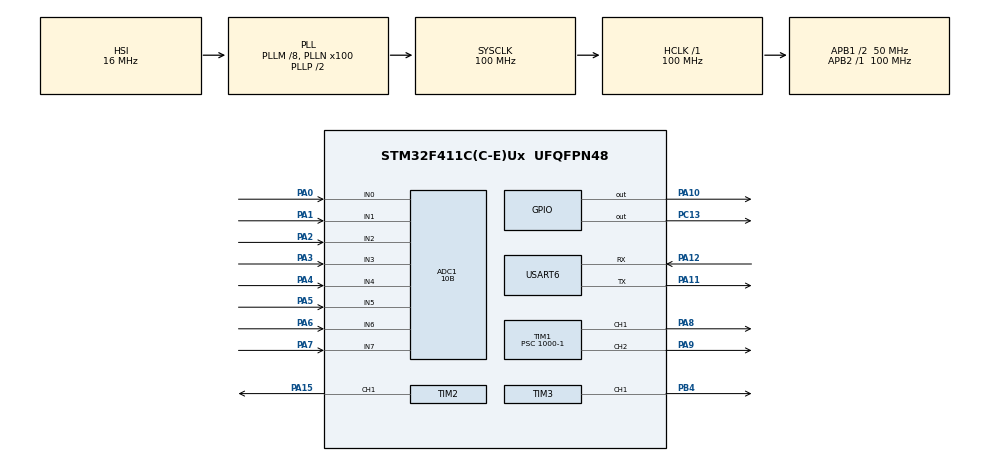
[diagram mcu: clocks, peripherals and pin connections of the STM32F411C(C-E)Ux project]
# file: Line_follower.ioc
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ADC1.Channel-0\#ChannelRegularConversion=ADC_CHANNEL_0
ADC1.Channel-1\#ChannelRegularConversion=ADC_CHANNEL_1
ADC1.Channel-10\#ChannelRegularConversion=ADC_CHANNEL_6
ADC1.Channel-11\#ChannelRegularConversion=ADC_CHANNEL_7
ADC1.Channel-6\#ChannelRegularConversion=ADC_CHANNEL_2
ADC1.Channel-7\#ChannelRegularConversion=ADC_CHANNEL_3
ADC1.Channel-8\#ChannelRegularConversion=ADC_CHANNEL_4
ADC1.Channel-9\#ChannelRegularConversion=ADC_CHANNEL_5
ADC1.ClockPrescaler=ADC_CLOCK_SYNC_PCLK_DIV4
ADC1.ContinuousConvMode=DISABLE
ADC1.DMAContinuousRequests=ENABLE
ADC1.EOCSelection=ADC_EOC_SEQ_CONV
ADC1.InjNumberOfConversion=0
ADC1.NbrOfConversion=8
ADC1.NbrOfConversionFlag=1
ADC1.Rank-0\#ChannelRegularConversion=1
ADC1.Rank-1\#ChannelRegularConversion=2
ADC1.Rank-10\#ChannelRegularConversion=7
ADC1.Rank-11\#ChannelRegularConversion=8
ADC1.Rank-6\#ChannelRegularConversion=3
ADC1.Rank-7\#ChannelRegularConversion=4
ADC1.Rank-8\#ChannelRegularConversion=5
ADC1.Rank-9\#ChannelRegularConversion=6
ADC1.Resolution=ADC_RESOLUTION_10B
ADC1.SamplingTime-0\#ChannelRegularConversion=ADC_SAMPLETIME_84CYCLES
ADC1.SamplingTime-1\#ChannelRegularConversion=ADC_SAMPLETIME_84CYCLES
ADC1.SamplingTime-10\#ChannelRegularConversion=ADC_SAMPLETIME_84CYCLES
ADC1.SamplingTime-11\#ChannelRegularConversion=ADC_SAMPLETIME_84CYCLES
ADC1.SamplingTime-6\#ChannelRegularConversion=ADC_SAMPLETIME_84CYCLES
ADC1.SamplingTime-7\#ChannelRegularConversion=ADC_SAMPLETIME_84CYCLES
ADC1.SamplingTime-8\#ChannelRegularConversion=ADC_SAMPLETIME_84CYCLES
ADC1.SamplingTime-9\#ChannelRegularConversion=ADC_SAMPLETIME_84CYCLES
ADC1.ScanConvMode=ENABLE
ADC1.master=1
Dma.ADC1.0.Direction=DMA_PERIPH_TO_MEMORY
Dma.ADC1.0.FIFOMode=DMA_FIFOMODE_DISABLE
Dma.ADC1.0.Instance=DMA2_Stream0
Dma.ADC1.0.MemDataAlignment=DMA_MDATAALIGN_WORD
Dma.ADC1.0.MemInc=DMA_MINC_ENABLE
Dma.ADC1.0.Mode=DMA_NORMAL
Dma.ADC1.0.PeriphDataAlignment=DMA_PDATAALIGN_WORD
Dma.ADC1.0.PeriphInc=DMA_PINC_DISABLE
Dma.ADC1.0.Priority=DMA_PRIORITY_VERY_HIGH
Dma.Request0=ADC1
Dma.Request1=USART6_RX
Dma.USART6_RX.1.Direction=DMA_PERIPH_TO_MEMORY
Dma.USART6_RX.1.FIFOMode=DMA_FIFOMODE_DISABLE
Dma.USART6_RX.1.Instance=DMA2_Stream1
Dma.USART6_RX.1.MemDataAlignment=DMA_MDATAALIGN_BYTE
Dma.USART6_RX.1.MemInc=DMA_MINC_ENABLE
Dma.USART6_RX.1.Mode=DMA_NORMAL
Dma.USART6_RX.1.PeriphDataAlignment=DMA_PDATAALIGN_BYTE
Dma.USART6_RX.1.PeriphInc=DMA_PINC_DISABLE
Dma.USART6_RX.1.Priority=DMA_PRIORITY_LOW
Mcu.Family=STM32F4
Mcu.Name=STM32F411C(C-E)Ux
Mcu.Package=UFQFPN48
NVIC.ADC_IRQn=true\:0\:0\:false\:true\:true\:1\:true\:true\:true
NVIC.DMA2_Stream0_IRQn=true\:0\:0\:true\:false\:true\:false\:true\:true
NVIC.DMA2_Stream1_IRQn=true\:0\:0\:false\:false\:true\:false\:true\:true
NVIC.PriorityGroup=NVIC_PRIORITYGROUP_4
NVIC.USART6_IRQn=true\:0\:0\:false\:false\:true\:true\:true\:true
PA0-WKUP.Signal=ADCx_IN0
PA1.Signal=ADCx_IN1
PA10.GPIO_PuPd=GPIO_PULLDOWN
PA10.Signal=GPIO_Output
PA11.Mode=Asynchronous
PA11.Signal=USART6_TX
PA12.Mode=Asynchronous
PA12.Signal=USART6_RX
PA13.Mode=Trace_Asynchronous_SW
PA13.Signal=SYS_JTMS-SWDIO
PA14.Mode=Trace_Asynchronous_SW
PA14.Signal=SYS_JTCK-SWCLK
PA15.Signal=S_TIM2_CH1_ETR
PA2.Signal=ADCx_IN2
PA3.Signal=ADCx_IN3
PA4.Signal=ADCx_IN4
PA5.Signal=ADCx_IN5
PA6.Signal=ADCx_IN6
PA7.Signal=ADCx_IN7
PA8.Signal=S_TIM1_CH1
PA9.Signal=S_TIM1_CH2
PB3.Mode=Trace_Asynchronous_SW
PB3.Signal=SYS_JTDO-SWO
PB4.Signal=S_TIM3_CH1
PC13-ANTI_TAMP.Signal=GPIO_Output
PH0\ -\ OSC_IN.Mode=HSE-External-Oscillator
PH0\ -\ OSC_IN.Signal=RCC_OSC_IN
PH1\ -\ OSC_OUT.Mode=HSE-External-Oscillator
PH1\ -\ OSC_OUT.Signal=RCC_OSC_OUT
ProjectManager.HeapSize=0x200
ProjectManager.StackSize=0x400
ProjectManager.TargetToolchain=STM32CubeIDE
RCC.48MHZClocksFreq_Value=50000000
RCC.AHBFreq_Value=100000000
RCC.APB1CLKDivider=RCC_HCLK_DIV2
RCC.APB1Freq_Value=50000000
RCC.APB1TimFreq_Value=100000000
RCC.APB2Freq_Value=100000000
RCC.APB2TimFreq_Value=100000000
RCC.CortexFreq_Value=100000000
RCC.HCLKFreq_Value=100000000
RCC.HSE_VALUE=25000000
RCC.HSI_VALUE=16000000
RCC.LSE_VALUE=32768
RCC.PLLM=8
RCC.PLLN=100
RCC.SYSCLKFreq_VALUE=100000000
RCC.SYSCLKSource=RCC_SYSCLKSOURCE_PLLCLK
RCC.VCOOutputFreq_Value=200000000
SH.ADCx_IN0.0=ADC1_IN0,IN0
SH.ADCx_IN1.0=ADC1_IN1,IN1
SH.ADCx_IN2.0=ADC1_IN2,IN2
SH.ADCx_IN3.0=ADC1_IN3,IN3
SH.ADCx_IN4.0=ADC1_IN4,IN4
SH.ADCx_IN5.0=ADC1_IN5,IN5
SH.ADCx_IN6.0=ADC1_IN6,IN6
SH.ADCx_IN7.0=ADC1_IN7,IN7
SH.S_TIM1_CH1.0=TIM1_CH1,PWM Generation1 CH1
SH.S_TIM1_CH2.0=TIM1_CH2,PWM Generation2 CH2
SH.S_TIM2_CH1_ETR.0=TIM2_CH1,PWM Generation1 CH1
SH.S_TIM3_CH1.0=TIM3_CH1,PWM Generation1 CH1
TIM1.Channel-PWM\ Generation1\ CH1=TIM_CHANNEL_1
TIM1.Channel-PWM\ Generation2\ CH2=TIM_CHANNEL_2
TIM1.Period=200
TIM1.Prescaler=1000-1
TIM2.Channel-PWM\ Generation1\ CH1=TIM_CHANNEL_1
TIM2.Period=200
TIM2.Prescaler=1000-1
TIM3.Channel-PWM\ Generation1\ CH1=TIM_CHANNEL_1
TIM3.Period=100
TIM3.Prescaler=1000-1
USART6.VirtualMode=VM_ASYNC
board=custom

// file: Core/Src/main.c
/* USER CODE BEGIN Header */
/**
  ******************************************************************************
  * @file           : main.c
  * @brief          : Main program body
  ******************************************************************************
  * @attention
  *
  * Copyright (c) 2025 STMicroelectronics.
  * All rights reserved.
  *
  * This software is licensed under terms that can be found in the LICENSE file
  * in the root directory of this software component.
  * If no LICENSE file comes with this software, it is provided AS-IS.
  *
  ******************************************************************************
  */
/* USER CODE END Header */
#include "main.h"
#include "stm32f4xx_hal_flash.h"
#include "stm32f4xx_hal_flash_ex.h"

/* USER CODE BEGIN Includes */
#include <stdlib.h>
#include <math.h>
#include <string.h>
#include <stdio.h>

/* USER CODE END Includes */

/* USER CODE BEGIN PD */
#define MAX_INTEGRAL 25.0
#define DEADBAND 2.0
#define LINE_LOST_TIMEOUT 1000  // milliseconds
#define EMERGENCY_STOP_THRESHOLD 2000  // ADC value for emergency stop

/* USER CODE END PD */

ADC_HandleTypeDef hadc1;
DMA_HandleTypeDef hdma_adc1;

TIM_HandleTypeDef htim1;
TIM_HandleTypeDef htim2;
TIM_HandleTypeDef htim3;

UART_HandleTypeDef huart6;
DMA_HandleTypeDef hdma_usart6_rx;

/* USER CODE BEGIN PV */

// ADC buffer for sensor readings
uint32_t adc_buffer[8];
uint32_t minValues[8];
uint32_t maxValues[8];

// Line following parameters
int sensorWeight[8] = {0,20 ,40,60,80,100,120,140};
int thresh[8] = {900,900,900,900,900,900,900,900};  // Threshold for black line detection
int position;
int callibrate_flag=0;
uint32_t line_lost_time = 0;
int emergency_stop = 0;
uint8_t printsensor_flag=0;
uint8_t printsensorraw_flag=0;

// PID variables
double Kp = 13.5;
double Ki = 0.01;
double Kd = 4;
double error = 0;
double P = 0, I = 0, D = 0;
double lastError = 0;
double lastInput = 0;
uint32_t lastTime = 0;
int setpoint = 70;

// Motor control
double base_speed = 200;
double correction = 0;
int turn = 0;

//UART COMMUNICATION
uint8_t rx_buffer[16], main_buffer[16];

//EEPROM
#define FLASH_USER_START_ADDR  0x08020000
#define FLASH_SECTOR_TO_ERASE FLASH_SECTOR_5
#define EEPROM_MAGIC 0xDEADBEEF

/* USER CODE END PV */

void SystemClock_Config(void);
static void MX_GPIO_Init(void);
static void MX_DMA_Init(void);
static void MX_ADC1_Init(void);
static void MX_TIM1_Init(void);
static void MX_TIM2_Init(void);
static void MX_TIM3_Init(void);
static void MX_USART6_UART_Init(void);
static void MX_NVIC_Init(void);

/* USER CODE BEGIN PFP */
void setMotorSpeed(uint8_t motor, int32_t speed);
int line_data(void);
void computePID(double error, int32_t input);
void checkAndHandleTurn();
void calibrate();
void setPIDParameter(char *input);
void HAL_UARTEx_RxEventCallback(UART_HandleTypeDef *huart, uint16_t Size);
void printSensorState();
void saveToFlash();
void printSensorValues();

/* USER CODE END PFP */
/* USER CODE BEGIN 0 */
// Motor control function
void setMotorSpeed(uint8_t motor, int32_t speed) {
    uint16_t pwm = abs(speed);
    if (pwm > 200) pwm = 200;  // Limit max speed

    if (motor == 0) {  // Left motor
        if (speed > 0) {
            TIM1->CCR1 = pwm;
            TIM1->CCR2 = 0;
        } else {
            TIM1->CCR1 = 0;
            TIM1->CCR2 = pwm;
        }
    }
    else if (motor == 1) {  // Right motor
        if (speed > 0) {
            TIM2->CCR1 = pwm;
            TIM3->CCR1 = 0;
        } else {
            TIM2->CCR1 = 0;
            TIM3->CCR1 = pwm;
        }
    }
}

// Line position calculation with timeout
int line_data(void) {
    int sum = 0;
    int weighted_sum = 0;
    int onLine = 0;

    for (int i = 0; i < 8; i++) {
        if (adc_buffer[i] > thresh[i]) {
            weighted_sum += sensorWeight[i];
            sum += 1;
            onLine = 1;
        }
    }

    if (!onLine) {
        return 255;  // Line lost condition
    }

    line_lost_time = 0;  // Reset timeout if line is found
    return weighted_sum / sum;
}

// PID computation
void computePID(double error, int32_t input) {

    double timeChange = (double)(HAL_GetTick() - lastTime);
    if (timeChange <= 0) timeChange = 1;

    // Calculate PID terms
    P = Kp * error;

    // Anti-windup: only integrate if output isn't saturated
    if(fabs(correction) < base_speed) {
        I += Ki * error * timeChange;
        // Limit integral term
        if(I > MAX_INTEGRAL) I = MAX_INTEGRAL;
        if(I < -MAX_INTEGRAL) I = -MAX_INTEGRAL;
    }

    // Filtered derivative term
    D = Kd * (input - lastInput) / timeChange;

    // Calculate correction
    correction = P + I + D;

    // Limit correction to base speed
    if(correction > base_speed) correction = base_speed;
    if(correction < -base_speed) correction = -base_speed;

    // Update variables for next iteration
    lastError = error;
    lastInput = input;
    lastTime = HAL_GetTick();

    // Apply motor speeds
    setMotorSpeed(0, base_speed - correction);
    setMotorSpeed(1, base_speed + correction);
}

// Non-blocking callibrate()
void callibrate() {
    static uint32_t start_time = 0;
    static uint8_t init_done = 0;

    if (!init_done) {
        for (int i = 0; i < 8; i++) {
            minValues[i] = adc_buffer[i];
            maxValues[i] = adc_buffer[i];
        }
        start_time = HAL_GetTick();
        init_done = 1;
    }

    if (HAL_GetTick() - start_time < 10000) {  // Run for 10 seconds
        HAL_ADC_Start_DMA(&hadc1, (uint32_t*)adc_buffer, 8);

        for (int i = 0; i < 8; i++) {
            if (adc_buffer[i] < minValues[i]) minValues[i] = adc_buffer[i];
            if (adc_buffer[i] > maxValues[i]) maxValues[i] = adc_buffer[i];
        }
    } else {
        for (int i = 0; i < 8; i++) {
            thresh[i] = (minValues[i] + maxValues[i]) / 2;
        }

        char done[] = "Calibration done\n";
        HAL_UART_Transmit(&huart6, (uint8_t*)done, strlen(done), HAL_MAX_DELAY);

        // Reset state
        init_done = 0;
        callibrate_flag = 0;
    }
}

void setPIDParameter(char *input) {
    char *ptr = input;

    while (*ptr != '\0') {
        char type = *ptr;
        ptr++;

        char valueStr[12] = {0};
        int i = 0;

        while (*ptr != 'P' && *ptr != 'p' &&
               *ptr != 'I' && *ptr != 'i' &&
               *ptr != 'D' && *ptr != 'd' &&
               *ptr != '\0') {
            valueStr[i++] = *ptr++;
        }

        double value = atof(valueStr);

        switch (type) {
            case 'P': case 'p':
                Kp = value;
                break;
            case 'I': case 'i':
                Ki = value;
                break;
            case 'D': case 'd':
                Kd = value;
                break;
        }
    }

    char confirm[] = "PID updated\n";
    HAL_UART_Transmit(&huart6, (uint8_t*)confirm, strlen(confirm), HAL_MAX_DELAY);
//    saveToFlash();
}

void HAL_UARTEx_RxEventCallback(UART_HandleTypeDef *huart, uint16_t Size) {
    if (huart->Instance == USART6) {
        memset(main_buffer, '\0', 16);
        memcpy(main_buffer, rx_buffer, Size);
        memset(rx_buffer, '\0', 16);
        main_buffer[Size] = '\0';

        int len = strlen((char*)main_buffer);
        while (len > 0 && (main_buffer[len-1] == '\r' || main_buffer[len-1] == '\n')) {
            main_buffer[--len] = '\0';
        }

        // Handle 'Q' query
        if (strcmp((char*)main_buffer, "Q") == 0) {
            char status[128];

            // Send PID values
            snprintf(status, sizeof(status),
                "Kp=%d.%02d Ki=%d.%03d Kd=%d.%02d\nThresh: ",
                (int)Kp, (int)(Kp * 100) % 100,
                (int)Ki, (int)(Ki * 1000) % 1000,
                (int)Kd, (int)(Kd * 100) % 100);
            HAL_UART_Transmit(&huart6, (uint8_t*)status, strlen(status), HAL_MAX_DELAY);

            // Send all 8 threshold values in one line
            for (int i = 0; i < 8; i++) {
                char tbuf[8];
                sprintf(tbuf, "%d ", thresh[i]);
                HAL_UART_Transmit(&huart6, (uint8_t*)tbuf, strlen(tbuf), HAL_MAX_DELAY);
            }

            HAL_UART_Transmit(&huart6, (uint8_t*)"\n", 1, HAL_MAX_DELAY);
        }

        // Handle 'C' or 'c' for calibration
        else if ((main_buffer[0] == 'C' || main_buffer[0] == 'c') && len ==1) {
        	callibrate_flag=1;
        }
        else if ((main_buffer[0] == 'M' || main_buffer[0] == 'm') && len ==1){
        	printsensor_flag=(printsensor_flag==1)?0:1;
        }
        // Fallback: PID parameter input
        else if ((main_buffer[0] == 'R' || main_buffer[0] == 'r') && len ==1){
                	printsensorraw_flag=(printsensorraw_flag==1)?0:1;
                }
        else {
            setPIDParameter((char*) main_buffer);
        }

        // Restart DMA reception
        HAL_UARTEx_ReceiveToIdle_DMA(&huart6, rx_buffer, 16);
        __HAL_DMA_DISABLE_IT(&hdma_usart6_rx, DMA_IT_HT);
    }
}

void printSensorState(void) {
    // Print sensor readings visually
    for (int i = 0; i < 8; i++) {
        if (adc_buffer[i] > thresh[i])
            HAL_UART_Transmit(&huart6, (uint8_t*)" | ", 3, HAL_MAX_DELAY);
        else
            HAL_UART_Transmit(&huart6, (uint8_t*)" 0 ", 3, HAL_MAX_DELAY);
    }

    // Print current line position
    char msg[32];
    sprintf(msg, " -> Pos: %d\n", position);
    HAL_UART_Transmit(&huart6, (uint8_t*)msg, strlen(msg), HAL_MAX_DELAY);
}

void printSensorValues(void) {
    char msg[64];

    HAL_UART_Transmit(&huart6, (uint8_t*)"Sensor Values: ", 15, HAL_MAX_DELAY);

    for (int i = 0; i < 8; i++) {
        sprintf(msg, "%4lu ", adc_buffer[i]);
        HAL_UART_Transmit(&huart6, (uint8_t*)msg, strlen(msg), HAL_MAX_DELAY);
    }

    HAL_UART_Transmit(&huart6, (uint8_t*)"\r\n", 2, HAL_MAX_DELAY);
}

void saveToFlash() {

    HAL_FLASH_Unlock();

    FLASH_EraseInitTypeDef EraseInitStruct;
    uint32_t SectorError;
    uint32_t address = FLASH_USER_START_ADDR;

    EraseInitStruct.TypeErase = FLASH_TYPEERASE_SECTORS;
    EraseInitStruct.Sector = FLASH_SECTOR_TO_ERASE;
    EraseInitStruct.NbSectors = 1;
    EraseInitStruct.VoltageRange = FLASH_VOLTAGE_RANGE_3;

    if (HAL_FLASHEx_Erase(&EraseInitStruct, &SectorError) != HAL_OK) {
        HAL_FLASH_Lock();
        return;
    }

    // Write magic number
    HAL_FLASH_Program(FLASH_TYPEPROGRAM_WORD, address, EEPROM_MAGIC);
    address += 8;

    // Write PID
    HAL_FLASH_Program(FLASH_TYPEPROGRAM_DOUBLEWORD, address, *(double*)&Kp); address += 8;
    HAL_FLASH_Program(FLASH_TYPEPROGRAM_DOUBLEWORD, address, *(double*)&Ki); address += 8;
    HAL_FLASH_Program(FLASH_TYPEPROGRAM_DOUBLEWORD, address, *(double*)&Kd); address += 8;

    // Write threshold array
    for (int i = 0; i < 8; i++) {
        HAL_FLASH_Program(FLASH_TYPEPROGRAM_WORD, address, (uint64_t)thresh[i]);
        address += 4;
    }

    HAL_FLASH_Lock();
}

void loadFromFlash() {
    uint32_t address = FLASH_USER_START_ADDR;

    uint32_t magic = *(uint64_t*)address;
    address += 8;

    if (magic != EEPROM_MAGIC) {
        // Flash is empty or invalid — don't load
        return;
    }

    // Load PID values
    Kp = *(double*)address; address += 8;
    Ki = *(double*)address; address += 8;
    Kd = *(double*)address; address += 8;

    // Load threshold array
    for (int i = 0; i < 8; i++) {
        thresh[i] = *(uint32_t*)address;
        address += 4;
    }
}

/* USER CODE END 0 */

int main(void)
{

  /* MCU Configuration--------------------------------------------------------*/

  /* Reset of all peripherals, Initializes the Flash interface and the Systick. */
  HAL_Init();

  /* Configure the system clock */
  SystemClock_Config();

  /* Initialize all configured peripherals */
  MX_GPIO_Init();
  MX_DMA_Init();
  MX_ADC1_Init();
  MX_TIM1_Init();
  MX_TIM2_Init();
  MX_TIM3_Init();
  MX_USART6_UART_Init();

  /* Initialize interrupts */
  MX_NVIC_Init();

  /* USER CODE BEGIN 2 */
  // Start ADC with DMA
  HAL_ADC_Start_IT(&hadc1);
  HAL_ADC_Start_DMA(&hadc1, (uint32_t*)adc_buffer, 8);

  // Initialize PWM outputs
  HAL_TIM_PWM_Start(&htim1, TIM_CHANNEL_1);
  HAL_TIM_PWM_Start(&htim1, TIM_CHANNEL_2);
  HAL_TIM_PWM_Start(&htim2, TIM_CHANNEL_1);
  HAL_TIM_PWM_Start(&htim3, TIM_CHANNEL_1);

  // Initialize timing variable
  lastTime = HAL_GetTick();

  //UART
  HAL_UARTEx_ReceiveToIdle_DMA(&huart6, rx_buffer, sizeof(rx_buffer));
  __HAL_DMA_DISABLE_IT(&hdma_usart6_rx, DMA_IT_HT);

  //EEPROM
//  loadFromFlash();
  /* USER CODE END 2 */

  /* Infinite loop */
  /* USER CODE BEGIN WHILE */
  /* USER CODE BEGIN WHILE */
  while (1) {
      // Start new ADC conversion
      HAL_ADC_Start_DMA(&hadc1, (uint32_t*)adc_buffer, 8);
      position=line_data();

      while (callibrate_flag==1){
    	callibrate();
      }

      turn = (position >100 && position <= 140) ? 1 : (position < 40) ? -1 : turn;

      // If line is lost and a turn is needed
      if (turn) {
          while (position == 255) {
              if (turn == 1) { // Turn right
                  setMotorSpeed(0, 150);
                  setMotorSpeed(1, -150);
              } else if (turn == -1) { // Turn left
                  setMotorSpeed(0, -150);
                  setMotorSpeed(1, 150);
              }

              HAL_ADC_Start_DMA(&hadc1, (uint32_t*) adc_buffer, 8);
              position = line_data(); // Re-check for line
          }

          HAL_ADC_Start_DMA(&hadc1, (uint32_t*) adc_buffer, 8);
          position = line_data(); // Final update after recovery
//          turn = (position > 50 && position <= 70) ? 1 : (position < 20) ? -1 : turn;
      }

      error=setpoint-position;

      computePID(error, position);

      // Handle line following
//
      if(printsensor_flag==1){
    	  printSensorState();
      }
      if(printsensorraw_flag==1){
    	  printSensorValues();
            }

//      checkAndHandleTurn();

      /* USER CODE END WHILE */

  }
}

void SystemClock_Config(void)
{
  RCC_OscInitTypeDef RCC_OscInitStruct = {0};
  RCC_ClkInitTypeDef RCC_ClkInitStruct = {0};

  /** Configure the main internal regulator output voltage
  */
  __HAL_RCC_PWR_CLK_ENABLE();
  __HAL_PWR_VOLTAGESCALING_CONFIG(PWR_REGULATOR_VOLTAGE_SCALE1);

  /** Initializes the RCC Oscillators according to the specified parameters
  * in the RCC_OscInitTypeDef structure.
  */
  RCC_OscInitStruct.OscillatorType = RCC_OSCILLATORTYPE_HSI;
  RCC_OscInitStruct.HSIState = RCC_HSI_ON;
  RCC_OscInitStruct.HSICalibrationValue = RCC_HSICALIBRATION_DEFAULT;
  RCC_OscInitStruct.PLL.PLLState = RCC_PLL_ON;
  RCC_OscInitStruct.PLL.PLLSource = RCC_PLLSOURCE_HSI;
  RCC_OscInitStruct.PLL.PLLM = 8;
  RCC_OscInitStruct.PLL.PLLN = 100;
  RCC_OscInitStruct.PLL.PLLP = RCC_PLLP_DIV2;
  RCC_OscInitStruct.PLL.PLLQ = 4;
  if (HAL_RCC_OscConfig(&RCC_OscInitStruct) != HAL_OK)
  {
    Error_Handler();
  }

  /** Initializes the CPU, AHB and APB buses clocks
  */
  RCC_ClkInitStruct.ClockType = RCC_CLOCKTYPE_HCLK|RCC_CLOCKTYPE_SYSCLK
                              |RCC_CLOCKTYPE_PCLK1|RCC_CLOCKTYPE_PCLK2;
  RCC_ClkInitStruct.SYSCLKSource = RCC_SYSCLKSOURCE_PLLCLK;
  RCC_ClkInitStruct.AHBCLKDivider = RCC_SYSCLK_DIV1;
  RCC_ClkInitStruct.APB1CLKDivider = RCC_HCLK_DIV2;
  RCC_ClkInitStruct.APB2CLKDivider = RCC_HCLK_DIV1;

  if (HAL_RCC_ClockConfig(&RCC_ClkInitStruct, FLASH_LATENCY_3) != HAL_OK)
  {
    Error_Handler();
  }
}

/**
  * @brief NVIC Configuration.
  * @retval None
  */
static void MX_NVIC_Init(void)
{
  /* ADC_IRQn interrupt configuration */
  HAL_NVIC_SetPriority(ADC_IRQn, 0, 0);
  HAL_NVIC_EnableIRQ(ADC_IRQn);
}

static void MX_ADC1_Init(void)
{

  ADC_ChannelConfTypeDef sConfig = {0};

  /** Configure the global features of the ADC (Clock, Resolution, Data Alignment and number of conversion)
  */
  hadc1.Instance = ADC1;
  hadc1.Init.ClockPrescaler = ADC_CLOCK_SYNC_PCLK_DIV4;
  hadc1.Init.Resolution = ADC_RESOLUTION_10B;
  hadc1.Init.ScanConvMode = ENABLE;
  hadc1.Init.ContinuousConvMode = DISABLE;
  hadc1.Init.DiscontinuousConvMode = DISABLE;
  hadc1.Init.ExternalTrigConvEdge = ADC_EXTERNALTRIGCONVEDGE_NONE;
  hadc1.Init.ExternalTrigConv = ADC_SOFTWARE_START;
  hadc1.Init.DataAlign = ADC_DATAALIGN_RIGHT;
  hadc1.Init.NbrOfConversion = 8;
  hadc1.Init.DMAContinuousRequests = ENABLE;
  hadc1.Init.EOCSelection = ADC_EOC_SEQ_CONV;
  if (HAL_ADC_Init(&hadc1) != HAL_OK)
  {
    Error_Handler();
  }

  /** Configure for the selected ADC regular channel its corresponding rank in the sequencer and its sample time.
  */
  sConfig.Channel = ADC_CHANNEL_0;
  sConfig.Rank = 1;
  sConfig.SamplingTime = ADC_SAMPLETIME_84CYCLES;
  if (HAL_ADC_ConfigChannel(&hadc1, &sConfig) != HAL_OK)
  {
    Error_Handler();
  }

  /** Configure for the selected ADC regular channel its corresponding rank in the sequencer and its sample time.
  */
  sConfig.Channel = ADC_CHANNEL_1;
  sConfig.Rank = 2;
  if (HAL_ADC_ConfigChannel(&hadc1, &sConfig) != HAL_OK)
  {
    Error_Handler();
  }

  /** Configure for the selected ADC regular channel its corresponding rank in the sequencer and its sample time.
  */
  sConfig.Channel = ADC_CHANNEL_2;
  sConfig.Rank = 3;
  if (HAL_ADC_ConfigChannel(&hadc1, &sConfig) != HAL_OK)
  {
    Error_Handler();
  }

  /** Configure for the selected ADC regular channel its corresponding rank in the sequencer and its sample time.
  */
  sConfig.Channel = ADC_CHANNEL_3;
  sConfig.Rank = 4;
  if (HAL_ADC_ConfigChannel(&hadc1, &sConfig) != HAL_OK)
  {
    Error_Handler();
  }

  /** Configure for the selected ADC regular channel its corresponding rank in the sequencer and its sample time.
  */
  sConfig.Channel = ADC_CHANNEL_4;
  sConfig.Rank = 5;
  if (HAL_ADC_ConfigChannel(&hadc1, &sConfig) != HAL_OK)
  {
    Error_Handler();
  }

  /** Configure for the selected ADC regular channel its corresponding rank in the sequencer and its sample time.
  */
  sConfig.Channel = ADC_CHANNEL_5;
  sConfig.Rank = 6;
  if (HAL_ADC_ConfigChannel(&hadc1, &sConfig) != HAL_OK)
  {
    Error_Handler();
  }

  /** Configure for the selected ADC regular channel its corresponding rank in the sequencer and its sample time.
  */
  sConfig.Channel = ADC_CHANNEL_6;
  sConfig.Rank = 7;
  if (HAL_ADC_ConfigChannel(&hadc1, &sConfig) != HAL_OK)
  {
    Error_Handler();
  }

  /** Configure for the selected ADC regular channel its corresponding rank in the sequencer and its sample time.
  */
  sConfig.Channel = ADC_CHANNEL_7;
  sConfig.Rank = 8;
  if (HAL_ADC_ConfigChannel(&hadc1, &sConfig) != HAL_OK)
  {
    Error_Handler();
  }

}

static void MX_TIM1_Init(void)
{

  TIM_MasterConfigTypeDef sMasterConfig = {0};
  TIM_OC_InitTypeDef sConfigOC = {0};
  TIM_BreakDeadTimeConfigTypeDef sBreakDeadTimeConfig = {0};

  htim1.Instance = TIM1;
  htim1.Init.Prescaler = 1000-1;
  htim1.Init.CounterMode = TIM_COUNTERMODE_UP;
  htim1.Init.Period = 200;
  htim1.Init.ClockDivision = TIM_CLOCKDIVISION_DIV1;
  htim1.Init.RepetitionCounter = 0;
  htim1.Init.AutoReloadPreload = TIM_AUTORELOAD_PRELOAD_DISABLE;
  if (HAL_TIM_PWM_Init(&htim1) != HAL_OK)
  {
    Error_Handler();
  }
  sMasterConfig.MasterOutputTrigger = TIM_TRGO_RESET;
  sMasterConfig.MasterSlaveMode = TIM_MASTERSLAVEMODE_DISABLE;
  if (HAL_TIMEx_MasterConfigSynchronization(&htim1, &sMasterConfig) != HAL_OK)
  {
    Error_Handler();
  }
  sConfigOC.OCMode = TIM_OCMODE_PWM1;
  sConfigOC.Pulse = 0;
  sConfigOC.OCPolarity = TIM_OCPOLARITY_HIGH;
  sConfigOC.OCNPolarity = TIM_OCNPOLARITY_HIGH;
  sConfigOC.OCFastMode = TIM_OCFAST_DISABLE;
  sConfigOC.OCIdleState = TIM_OCIDLESTATE_RESET;
  sConfigOC.OCNIdleState = TIM_OCNIDLESTATE_RESET;
  if (HAL_TIM_PWM_ConfigChannel(&htim1, &sConfigOC, TIM_CHANNEL_1) != HAL_OK)
  {
    Error_Handler();
  }
  if (HAL_TIM_PWM_ConfigChannel(&htim1, &sConfigOC, TIM_CHANNEL_2) != HAL_OK)
  {
    Error_Handler();
  }
  sBreakDeadTimeConfig.OffStateRunMode = TIM_OSSR_DISABLE;
  sBreakDeadTimeConfig.OffStateIDLEMode = TIM_OSSI_DISABLE;
  sBreakDeadTimeConfig.LockLevel = TIM_LOCKLEVEL_OFF;
  sBreakDeadTimeConfig.DeadTime = 0;
  sBreakDeadTimeConfig.BreakState = TIM_BREAK_DISABLE;
  sBreakDeadTimeConfig.BreakPolarity = TIM_BREAKPOLARITY_HIGH;
  sBreakDeadTimeConfig.AutomaticOutput = TIM_AUTOMATICOUTPUT_DISABLE;
  if (HAL_TIMEx_ConfigBreakDeadTime(&htim1, &sBreakDeadTimeConfig) != HAL_OK)
  {
    Error_Handler();
  }
  HAL_TIM_MspPostInit(&htim1);

}

static void MX_TIM2_Init(void)
{

  TIM_MasterConfigTypeDef sMasterConfig = {0};
  TIM_OC_InitTypeDef sConfigOC = {0};

  htim2.Instance = TIM2;
  htim2.Init.Prescaler = 1000-1;
  htim2.Init.CounterMode = TIM_COUNTERMODE_UP;
  htim2.Init.Period = 200;
  htim2.Init.ClockDivision = TIM_CLOCKDIVISION_DIV1;
  htim2.Init.AutoReloadPreload = TIM_AUTORELOAD_PRELOAD_DISABLE;
  if (HAL_TIM_PWM_Init(&htim2) != HAL_OK)
  {
    Error_Handler();
  }
  sMasterConfig.MasterOutputTrigger = TIM_TRGO_RESET;
  sMasterConfig.MasterSlaveMode = TIM_MASTERSLAVEMODE_DISABLE;
  if (HAL_TIMEx_MasterConfigSynchronization(&htim2, &sMasterConfig) != HAL_OK)
  {
    Error_Handler();
  }
  sConfigOC.OCMode = TIM_OCMODE_PWM1;
  sConfigOC.Pulse = 0;
  sConfigOC.OCPolarity = TIM_OCPOLARITY_HIGH;
  sConfigOC.OCFastMode = TIM_OCFAST_DISABLE;
  if (HAL_TIM_PWM_ConfigChannel(&htim2, &sConfigOC, TIM_CHANNEL_1) != HAL_OK)
  {
    Error_Handler();
  }
  HAL_TIM_MspPostInit(&htim2);

}

static void MX_TIM3_Init(void)
{

  TIM_MasterConfigTypeDef sMasterConfig = {0};
  TIM_OC_InitTypeDef sConfigOC = {0};

  htim3.Instance = TIM3;
  htim3.Init.Prescaler = 1000-1;
  htim3.Init.CounterMode = TIM_COUNTERMODE_UP;
  htim3.Init.Period = 100;
  htim3.Init.ClockDivision = TIM_CLOCKDIVISION_DIV1;
  htim3.Init.AutoReloadPreload = TIM_AUTORELOAD_PRELOAD_DISABLE;
  if (HAL_TIM_PWM_Init(&htim3) != HAL_OK)
  {
    Error_Handler();
  }
  sMasterConfig.MasterOutputTrigger = TIM_TRGO_RESET;
  sMasterConfig.MasterSlaveMode = TIM_MASTERSLAVEMODE_DISABLE;
  if (HAL_TIMEx_MasterConfigSynchronization(&htim3, &sMasterConfig) != HAL_OK)
  {
    Error_Handler();
  }
  sConfigOC.OCMode = TIM_OCMODE_PWM1;
  sConfigOC.Pulse = 0;
  sConfigOC.OCPolarity = TIM_OCPOLARITY_HIGH;
  sConfigOC.OCFastMode = TIM_OCFAST_DISABLE;
  if (HAL_TIM_PWM_ConfigChannel(&htim3, &sConfigOC, TIM_CHANNEL_1) != HAL_OK)
  {
    Error_Handler();
  }
  HAL_TIM_MspPostInit(&htim3);

}

static void MX_USART6_UART_Init(void)
{

  huart6.Instance = USART6;
  huart6.Init.BaudRate = 115200;
  huart6.Init.WordLength = UART_WORDLENGTH_8B;
  huart6.Init.StopBits = UART_STOPBITS_1;
  huart6.Init.Parity = UART_PARITY_NONE;
  huart6.Init.Mode = UART_MODE_TX_RX;
  huart6.Init.HwFlowCtl = UART_HWCONTROL_NONE;
  huart6.Init.OverSampling = UART_OVERSAMPLING_16;
  if (HAL_UART_Init(&huart6) != HAL_OK)
  {
    Error_Handler();
  }

}

static void MX_DMA_Init(void)
{

  /* DMA controller clock enable */
  __HAL_RCC_DMA2_CLK_ENABLE();

  /* DMA interrupt init */
  /* DMA2_Stream0_IRQn interrupt configuration */
  HAL_NVIC_SetPriority(DMA2_Stream0_IRQn, 0, 0);
  HAL_NVIC_EnableIRQ(DMA2_Stream0_IRQn);
  /* DMA2_Stream1_IRQn interrupt configuration */
  HAL_NVIC_SetPriority(DMA2_Stream1_IRQn, 0, 0);
  HAL_NVIC_EnableIRQ(DMA2_Stream1_IRQn);

}

static void MX_GPIO_Init(void)
{
  GPIO_InitTypeDef GPIO_InitStruct = {0};

  /* GPIO Ports Clock Enable */
  __HAL_RCC_GPIOC_CLK_ENABLE();
  __HAL_RCC_GPIOH_CLK_ENABLE();
  __HAL_RCC_GPIOA_CLK_ENABLE();
  __HAL_RCC_GPIOB_CLK_ENABLE();

  /*Configure GPIO pin Output Level */
  HAL_GPIO_WritePin(GPIOC, GPIO_PIN_13, GPIO_PIN_RESET);

  /*Configure GPIO pin Output Level */
  HAL_GPIO_WritePin(GPIOA, GPIO_PIN_10, GPIO_PIN_RESET);

  /*Configure GPIO pin : PC13 */
  GPIO_InitStruct.Pin = GPIO_PIN_13;
  GPIO_InitStruct.Mode = GPIO_MODE_OUTPUT_PP;
  GPIO_InitStruct.Pull = GPIO_NOPULL;
  GPIO_InitStruct.Speed = GPIO_SPEED_FREQ_LOW;
  HAL_GPIO_Init(GPIOC, &GPIO_InitStruct);

  /*Configure GPIO pin : PA10 */
  GPIO_InitStruct.Pin = GPIO_PIN_10;
  GPIO_InitStruct.Mode = GPIO_MODE_OUTPUT_PP;
  GPIO_InitStruct.Pull = GPIO_PULLDOWN;
  GPIO_InitStruct.Speed = GPIO_SPEED_FREQ_LOW;
  HAL_GPIO_Init(GPIOA, &GPIO_InitStruct);

}

void Error_Handler(void)
{
  __disable_irq();
  while (1)
  {
  }
}
